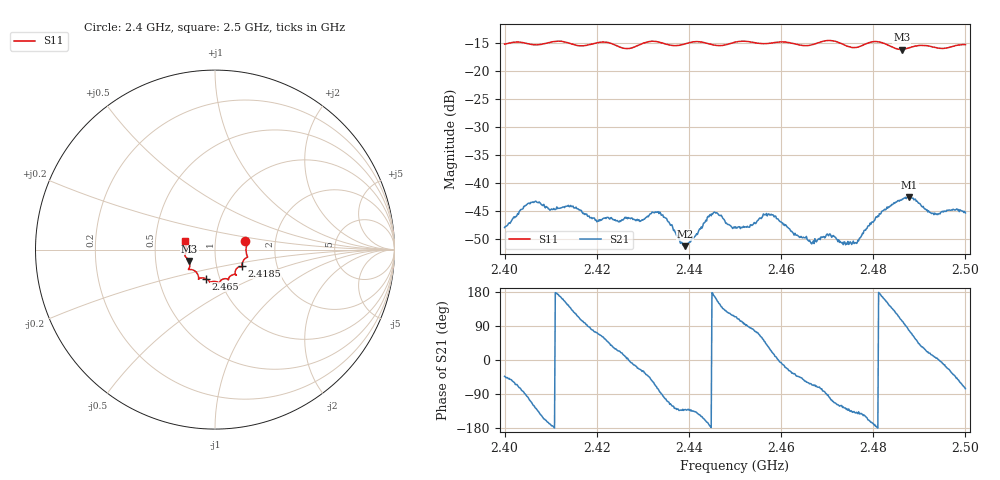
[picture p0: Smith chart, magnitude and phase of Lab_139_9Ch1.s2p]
# Hz S RI R 50
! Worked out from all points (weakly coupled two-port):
!   601 points, 2.4 GHz to 2.5 GHz, reference 50 ohm
!   highest |S21| = -42.51 dB at 2.4878 GHz (marker M1); lowest = -51.3 dB at 2.4392 GHz (marker M2)
!   lowest |S11| = -16.1 dB at 2.4862 GHz (marker M3), VSWR 1.37, Z = 37.2 - j4.81 ohm
!   |S11| at or under -10 dB: start of sweep to end of sweep
!   S12 and S22 are empty: the file has one direction only
!   S11 on the Smith chart (normalised r, x): 2.4 GHz: 1.40, +0.13; 2.4185 GHz: 1.33, -0.24; 2.465 GHz: 0.86, -0.29; 2.5 GHz: 0.71, +0.07
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2.4e9  0.1693 0.0459  0.00293 -0.00274  0 0  0 0
2.406167e9  0.1731 0.0071  -0.00331 -0.00596  0 0  0 0
2.416667e9  0.1549 -0.0679  -0.00146 0.00551  0 0  0 0
2.4185e9  0.1498 -0.0887  0.00033 0.00489  0 0  0 0
2.426667e9  0.1203 -0.1054  0.00478 0.000426  0 0  0 0
2.4295e9  0.1127 -0.1336  0.00411 -0.00199  0 0  0 0
2.433333e9  0.1175 -0.1411  0.00128 -0.00541  0 0  0 0
2.439167e9  0.0775 -0.1582  -0.00178 -0.00207  0 0  0 0
2.4455e9  0.0577 -0.1618  -0.00541 0.0011  0 0  0 0
2.45e9  0.0255 -0.1808  -0.00162 0.00362  0 0  0 0
2.457667e9  -0.0153 -0.1781  0.00463 0.00232  0 0  0 0
2.465e9  -0.0523 -0.1618  0.00193 -0.00263  0 0  0 0
2.466667e9  -0.0713 -0.1574  0.00119 -0.0026  0 0  0 0
2.470333e9  -0.0922 -0.1652  -0.000419 -0.00336  0 0  0 0
2.4735e9  -0.0926 -0.1477  -0.00156 -0.00235  0 0  0 0
2.476333e9  -0.1138 -0.1178  -0.00215 -0.00193  0 0  0 0
2.480167e9  -0.1478 -0.1109  -0.00455 -0.000677  0 0  0 0
2.483333e9  -0.1414 -0.0963  -0.00511 0.00341  0 0  0 0
2.486167e9  -0.1437 -0.0632  -0.00173 0.00684  0 0  0 0
2.487833e9  -0.1556 -0.0481  0.00165 0.00731  0 0  0 0
2.492667e9  -0.1648 -0.0231  0.0052 0.00126  0 0  0 0
2.5e9  -0.167 0.0471  0.00134 -0.00526  0 0  0 0
